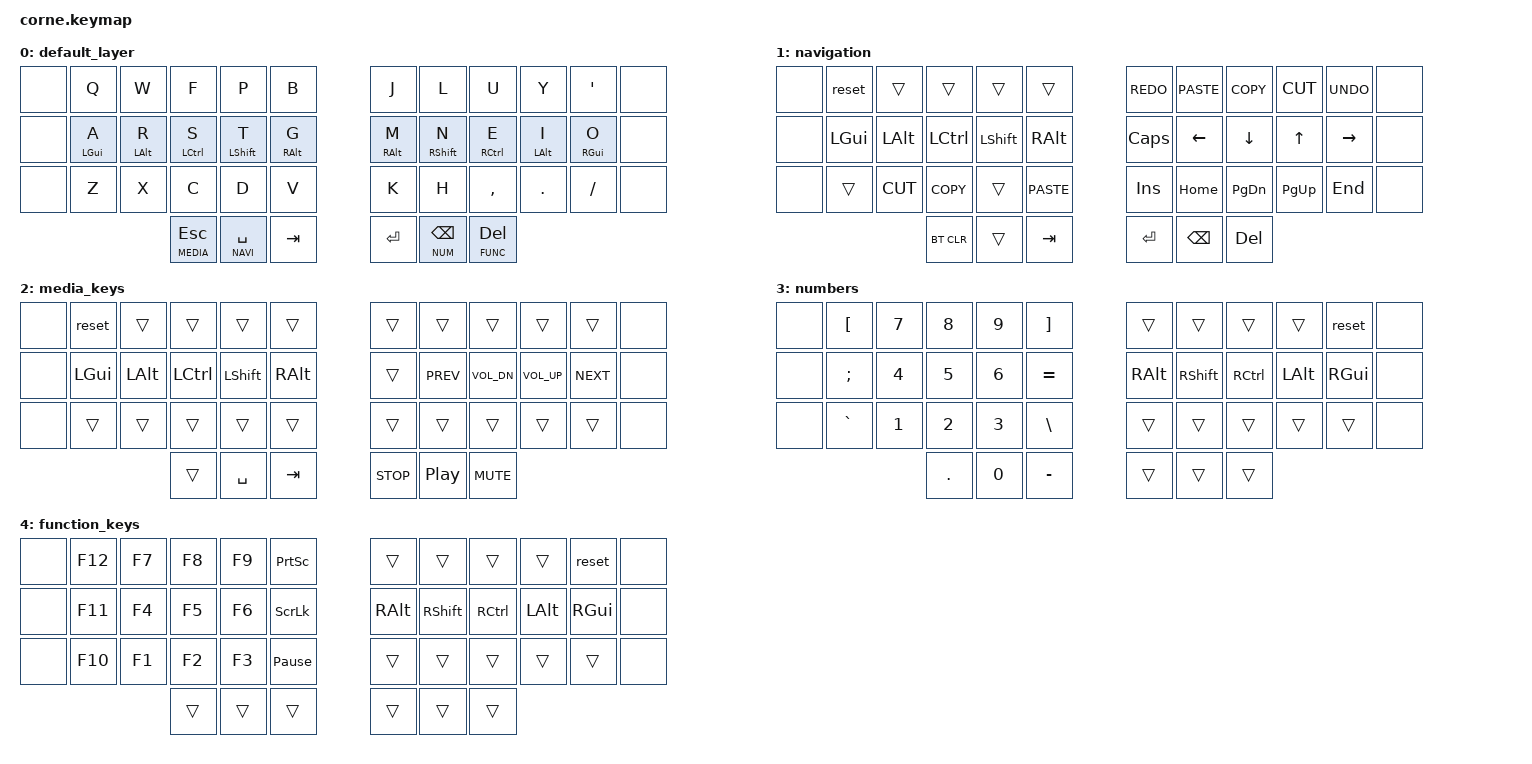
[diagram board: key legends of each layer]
/*
 * Halfdane's Corne/crkbd keymap using ZMK
 * Based off of miryoku
 * https://github.com/halfdane/zmk-config
 */

#include <behaviors.dtsi>
#include <dt-bindings/zmk/keys.h>
#include <dt-bindings/zmk/bt.h>

#define XXX  &none
#define ___  &trans
// HELD on each layer shows which key(s) are being held to access that layer
#define HELD &trans

// Layer Definitions
#define DEFAULT 0
#define NAVI 1
#define MEDIA 2
#define NUM 3
#define FUNC 4
#define NONE 0

/ {
//  Homerow mod held behaviour
    behaviors {
        hm: homerow_mods {
            compatible = "zmk,behavior-hold-tap";
            label = "HOMEROW_MODS";
            #binding-cells = <2>;
            tapping_term_ms = <200>;
            flavor = "balanced";
            bindings = <&kp>, <&kp>;
        };
    };

    keymap {
        compatible = "zmk,keymap";
        default_layer {
            bindings = <
// ╭─────┬─────────────┬─────────────┬─────────────┬─────────────┬────────────╮   ╭─────────────┬─────────────┬─────────────┬─────────────┬─────────────┬─────╮
     XXX   &kp Q         &kp W         &kp F         &kp P         &kp B            &kp J         &kp L         &kp U         &kp Y         &kp APOS      XXX
// ├─────┼─────────────┼─────────────┼─────────────┼─────────────┼────────────┤   ├─────────────┼─────────────┼─────────────┼─────────────┼─────────────┼─────┤
     XXX   &hm LGUI A    &hm LALT R    &hm LCTRL S   &hm LSHIFT T  &hm RALT G       &hm RALT M    &hm RSHIFT N  &hm RCTRL E   &hm LALT I    &hm RGUI O    XXX
// ├─────┼─────────────┼─────────────┼─────────────┼─────────────┼────────────┤   ├─────────────┼─────────────┼─────────────┼─────────────┼─────────────┼─────┤
     XXX   &kp Z         &kp X         &kp C         &kp D         &kp V            &kp K         &kp H         &kp COMMA     &kp DOT       &kp FSLH      XXX
// ╰─────┴─────────────┴─────────────┴─────────────┼─────────────┼────────────┤   ├─────────────┼─────────────┼─────────────┴─────────────┴─────────────┴─────╯
                                    &lt MEDIA ESC  &lt NAVI SPACE  &kp TAB          &kp RET       &lt NUM BSPC  &lt FUNC DEL
//                                  ╰──────────────┴─────────────┴────────────╯   ╰─────────────┴─────────────┴─────────────╯
            >;
        };

        navigation {
            bindings = <
// ╭─────┬─────────────┬─────────────┬─────────────┬─────────────┬────────────╮   ╭─────────────┬─────────────┬─────────────┬─────────────┬─────────────┬─────╮
     XXX   &reset        ___           ___           ___           ___              &kp K_REDO    &kp K_PASTE   &kp K_COPY    &kp K_CUT     &kp K_UNDO    XXX
// ├─────┼─────────────┼─────────────┼─────────────┼─────────────┼────────────┤   ├─────────────┼─────────────┼─────────────┼─────────────┼─────────────┼─────┤
     XXX   &kp LGUI      &kp LALT      &kp LCTRL     &kp LSHIFT    &kp RALT         &kp CAPS      &kp LEFT      &kp DOWN      &kp UP        &kp RIGHT     XXX
// ├─────┼─────────────┼─────────────┼─────────────┼─────────────┼────────────┤   ├─────────────┼─────────────┼─────────────┼─────────────┼─────────────┼─────┤
     XXX   ___           &kp K_CUT     &kp K_COPY    ___          &kp K_PASTE       &kp INS       &kp HOME      &kp PG_DN     &kp PG_UP     &kp END       XXX
// ╰─────┴─────────────┴─────────────┴─────────────┼─────────────┼────────────┤   ├─────────────┼─────────────┼─────────────┴─────────────┴─────────────┴─────╯
                                       &bt BT_CLR    HELD          &kp TAB          &kp RET       &kp BSPC      &kp DEL
//                                   ╰─────────────┴─────────────┴────────────╯   ╰─────────────┴─────────────┴─────────────╯
            >;
        };

        media_keys {
            bindings = <
// ╭─────┬─────────────┬─────────────┬─────────────┬─────────────┬────────────╮   ╭─────────────┬─────────────┬─────────────┬─────────────┬─────────────┬─────╮
     XXX   &reset        ___           ___           ___           ___              ___           ___           ___           ___           ___           XXX
// ├─────┼─────────────┼─────────────┼─────────────┼─────────────┼────────────┤   ├─────────────┼─────────────┼─────────────┼─────────────┼─────────────┼─────┤
     XXX   &kp LGUI      &kp LALT      &kp LCTRL     &kp LSHIFT    &kp RALT         ___           &kp C_PREV    &kp C_VOL_DN  &kp C_VOL_UP  &kp C_NEXT    XXX
// ├─────┼─────────────┼─────────────┼─────────────┼─────────────┼────────────┤   ├─────────────┼─────────────┼─────────────┼─────────────┼─────────────┼─────┤
     XXX   ___           ___           ___           ___           ___              ___           ___           ___           ___           ___           XXX
// ╰─────┴─────────────┴─────────────┴─────────────┼─────────────┼────────────┤   ├─────────────┼─────────────┼─────────────┴─────────────┴─────────────┴─────╯
                                       HELD          &kp SPACE     &kp TAB          &kp C_STOP     &kp C_PP    &kp C_MUTE
//                                   ╰─────────────┴─────────────┴────────────╯   ╰─────────────┴─────────────┴─────────────╯
            >;
        };

        numbers {
            bindings = <
// ╭─────┬─────────────┬─────────────┬─────────────┬─────────────┬────────────╮   ╭─────────────┬─────────────┬─────────────┬─────────────┬─────────────┬─────╮
     XXX   &kp LBKT      &kp N7        &kp N8        &kp N9        &kp RBKT         ___           ___           ___           ___           &reset        XXX
// ├─────┼─────────────┼─────────────┼─────────────┼─────────────┼────────────┤   ├─────────────┼─────────────┼─────────────┼─────────────┼─────────────┼─────┤
     XXX   &kp SEMI      &kp N4        &kp N5        &kp N6        &kp EQUAL        &kp RALT      &kp RSHIFT    &kp RCTRL     &kp LALT      &kp RGUI      XXX
// ├─────┼─────────────┼─────────────┼─────────────┼─────────────┼────────────┤   ├─────────────┼─────────────┼─────────────┼─────────────┼─────────────┼─────┤
     XXX   &kp GRAVE     &kp N1        &kp N2        &kp N3        &kp BSLH         ___           ___           ___           ___           ___           XXX
// ╰─────┴─────────────┴─────────────┴─────────────┼─────────────┼────────────┤   ├─────────────┼─────────────┼─────────────┴─────────────┴─────────────┴─────╯
                                       &kp DOT       &kp N0        &kp MINUS        ___           HELD          ___
//                                   ╰─────────────┴─────────────┴────────────╯   ╰─────────────┴─────────────┴─────────────╯
            >;
        };

        function_keys {
            bindings = <
// ╭─────┬─────────────┬─────────────┬─────────────┬─────────────┬────────────╮   ╭─────────────┬─────────────┬─────────────┬─────────────┬─────────────┬─────╮
     XXX   &kp F12       &kp F7        &kp F8        &kp F9        &kp PSCRN        ___           ___           ___           ___           &reset        XXX
// ├─────┼─────────────┼─────────────┼─────────────┼─────────────┼────────────┤   ├─────────────┼─────────────┼─────────────┼─────────────┼─────────────┼─────┤
     XXX   &kp F11       &kp F4        &kp F5        &kp F6        &kp SLCK         &kp RALT      &kp RSHIFT    &kp RCTRL     &kp LALT      &kp RGUI      XXX
// ├─────┼─────────────┼─────────────┼─────────────┼─────────────┼────────────┤   ├─────────────┼─────────────┼─────────────┼─────────────┼─────────────┼─────┤
     XXX   &kp F10       &kp F1        &kp F2        &kp F3      &kp PAUSE_BREAK    ___         ___           ___           ___           ___           XXX
// ╰─────┴─────────────┴─────────────┴─────────────┼─────────────┼────────────┤   ├─────────────┼─────────────┼─────────────┴─────────────┴─────────────┴─────╯
                                       ___           ___           ___              ___           ___           HELD
//                                   ╰─────────────┴─────────────┴────────────╯   ╰─────────────┴─────────────┴─────────────╯
            >;
        };
    };
};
